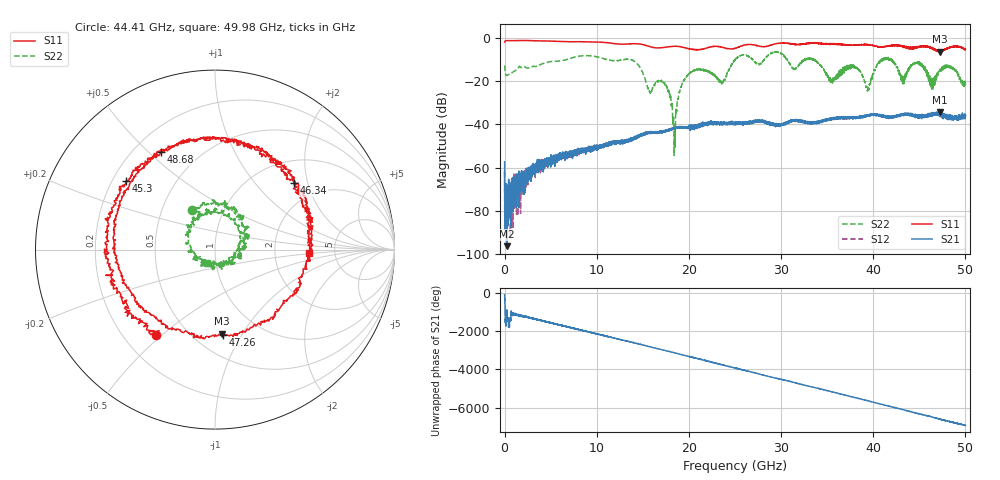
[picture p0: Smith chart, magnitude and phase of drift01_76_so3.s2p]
!Created with skrf (http://scikit-rf.org).
# Hz S RI R 50.0
!freq ReS11 ImS11 ReS21 ImS21 ReS12 ImS12 ReS22 ImS22
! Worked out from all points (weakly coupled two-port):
!   10001 points, 300 kHz to 50 GHz, reference 50 ohm
!   highest |S21| = -34.48 dB at 47.21 GHz (marker M1); lowest = -96.3 dB at 255.3 MHz (marker M2)
!   lowest |S11| = -6.6 dB at 47.28 GHz (marker M3), VSWR 2.78, Z = 34.2 - j41.1 ohm
!   |S11| at or under -10 dB: nowhere
!   |S22| runs from -54.5 to -6.6 dB; largest |S21 - S12| = 0.0043
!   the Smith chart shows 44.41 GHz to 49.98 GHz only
!   S11 on the Smith chart (normalised r, x): 44.41 GHz: 0.33, -0.48; 45.3 GHz: 0.26, +0.32; 46.34 GHz: 1.49, +1.65; 47.26 GHz: 0.68, -0.84; 48.68 GHz: 0.31, +0.55; 49.98 GHz: 3.20, -0.18
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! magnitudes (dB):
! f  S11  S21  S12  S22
! 300 kHz  -2.1  -57.3  -62.0  -12.9
! 255.3 MHz  -1.4  -96.3  -73.8  -17.5
! 8.335 GHz  -1.9  -52.9  -52.2  -8.5
! 16.67 GHz  -4.8  -43.6  -43.7  -20.0
! 17.74 GHz  -4.3  -42.7  -43.1  -24.4
! 18.45 GHz  -4.1  -41.7  -41.8  -42.8
! 19.97 GHz  -5.1  -41.4  -41.2  -16.8
! 23.64 GHz  -4.5  -39.9  -39.4  -20.6
! 25 GHz  -5.0  -39.7  -39.7  -10.1
! 33.34 GHz  -2.6  -39.3  -39.4  -10.0
! 39.43 GHz  -3.3  -36.2  -35.9  -23.7
! 41.67 GHz  -3.8  -36.7  -36.8  -10.3
! 43.23 GHz  -3.9  -35.5  -35.8  -19.6
! 44.41 GHz  -4.7  -35.9  -36.2  -12.0
! 45.3 GHz  -4.1  -36.1  -36.1  -12.4
! 46.34 GHz  -4.8  -35.6  -35.7  -21.6
! 47.21 GHz  -6.4  -34.5  -36.1  -15.7
! 47.26 GHz  -6.4  -35.6  -35.2  -14.7
! 47.28 GHz  -6.6  -35.9  -35.4  -14.5
! 48.68 GHz  -4.1  -38.1  -37.5  -14.4
! 49.98 GHz  -5.6  -35.5  -35.8  -21.3
! 50 GHz  -5.5  -35.6  -35.7  -21.6
